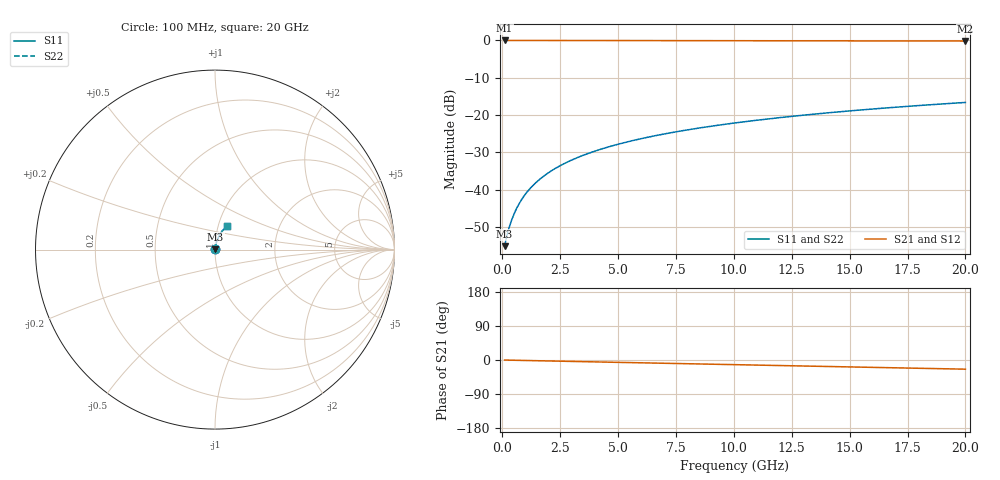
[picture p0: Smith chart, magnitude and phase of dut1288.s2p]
! Touchstone file exported from HFSS 2026.1.0
!  File:  C:/ffzhzh/LocalFiles/Ansys_Project_Files/temp_train_BSMRDL_1288_1783177966_43440.aedt
!  Generated:  11:13:56 PM Jul  4, 2026
!  Design:  BSMRDL
!  Project:  temp_train_BSMRDL_1288_1783177966_43440
! Variables:
!  h_bsmrdl = 4.43um
!  h_ox = 20um
!  h_rdl = 5um
!  h_sub = 80um
!  h_tmrdl = 5um
!  h_tsv = 80um
!  h_via = 3um
!  l_bsmrdl = 382.52um
!  l_sub = 782.52um
!  l_tmrdl = 200um
!  m_sub = 200um
!  pitch = 38.93um
!  r_tsv = 6um
!  s_tmrdl = 10um
!  w_bsmrdl = 25.28um
!  w_sub = 500um
!  w_tmrdl = 12um
!  x_tsv_center1 = 206um
!  x_tsv_center2 = 613.8um
!  x_tsv_center3 = 825.8um
!  x_tsv_center4 = 1233.6um
!  x_tsv_center5 = 1445.6um
!  x_tsv_center6 = 1853.4um
# GHz S MA R 50.000000
! Terminal data exported
! Port[1] = BSM_RDL1_1_T1
! Port[2] = BSM_RDL1_1_T2
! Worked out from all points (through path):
!   200 points, 100 MHz to 20 GHz, reference 50 ohm
!   highest |S21| = -0.01 dB at 100 MHz (marker M1); lowest = -0.2 dB at 20 GHz (marker M2)
!   group delay of S21, straight-line fit = 3.35 ps
!   lowest |S11| = -55.1 dB at 100 MHz (marker M3), VSWR 1.00, Z = 50.1 + j0.103 ohm
!   |S11| at or under -10 dB: start of sweep to end of sweep
!   |S22| runs from -55.1 to -16.6 dB; largest |S21 - S12| = 4e-15
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0.1  0.00176 35.6  0.9986 -0.1  0.9986 -0.1  0.00176 35.6
! Gamma 0 0 0 0
! Port Impedance 50 0 50 0
0.2  0.002448 50.2  0.9984 -0.3  0.9984 -0.3  0.002449 50.2
0.3  0.003163 58.7  0.9983 -0.4  0.9983 -0.4  0.003165 58.7
0.4  0.003913 64.3  0.9982 -0.5  0.9982 -0.5  0.003915 64.2
0.5  0.004691 68.1  0.9982 -0.6  0.9982 -0.6  0.004692 68.1
0.6  0.005488 70.9  0.9981 -0.8  0.9981 -0.8  0.005488 70.9
0.8  0.007113 74.4  0.998 -1.0  0.998 -1.0  0.007113 74.4
1  0.008758 76.5  0.998 -1.3  0.998 -1.3  0.008757 76.5
1.2  0.01041 77.8  0.9979 -1.5  0.9979 -1.5  0.01041 77.8
1.4  0.01206 78.7  0.9978 -1.8  0.9978 -1.8  0.01206 78.7
1.7  0.01453 79.4  0.9977 -2.1  0.9977 -2.1  0.01453 79.4
2.2  0.01861 79.9  0.9974 -2.8  0.9974 -2.8  0.01861 79.9
2.8  0.02345 80.0  0.9971 -3.5  0.9971 -3.5  0.02345 80.0
3.5  0.02902 79.7  0.9966 -4.4  0.9966 -4.4  0.02902 79.7
4.2  0.03453 79.2  0.9961 -5.2  0.9961 -5.2  0.03453 79.2
5  0.04075 78.5  0.9955 -6.2  0.9955 -6.2  0.04075 78.5
6.8  0.05447 76.8  0.994 -8.4  0.994 -8.4  0.05447 76.8
8.3  0.06568 75.3  0.9927 -10.2  0.9927 -10.2  0.06568 75.3
10.1  0.07891 73.4  0.9912 -12.4  0.9912 -12.4  0.07891 73.4
13.4  0.1026 69.9  0.9881 -16.4  0.9881 -16.4  0.1026 69.9
16.7  0.1256 66.4  0.9847 -20.3  0.9847 -20.3  0.1256 66.4
20  0.1477 62.7  0.981 -24.2  0.981 -24.2  0.1477 62.7
